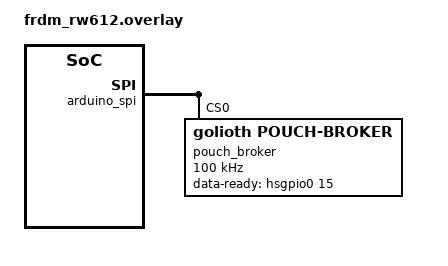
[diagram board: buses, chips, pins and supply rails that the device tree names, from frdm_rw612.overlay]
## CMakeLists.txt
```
# Copyright (c) 2026 Golioth, Inc.
#
# SPDX-License-Identifier: Apache-2.0

cmake_minimum_required(VERSION 3.20.0)
find_package(Zephyr REQUIRED HINTS $ENV{ZEPHYR_BASE})
project(serial_gateway_example)

# Apart from the SPI broker, this is the same gateway as the Bluetooth gateway example, so share its
# credential and network handling.
set(GATEWAY_EXAMPLE_DIR ${CMAKE_CURRENT_SOURCE_DIR}/../gateway)

target_include_directories(app PRIVATE ${GATEWAY_EXAMPLE_DIR}/src)

target_sources(app PRIVATE
  src/main.c
  ${GATEWAY_EXAMPLE_DIR}/src/credentials.c
  ${GATEWAY_EXAMPLE_DIR}/src/fatal_error.c
)

if(CONFIG_WIFI)
  target_sources(app PRIVATE ${GATEWAY_EXAMPLE_DIR}/src/wifi.c)
endif()

if (NOT CONFIG_EXAMPLE_COAP_CLIENT_DTLS_LOAD_CA_FROM_FILESYSTEM)
  generate_inc_file_for_target(app
    ${CMAKE_CURRENT_SOURCE_DIR}/../http_client/src/isrgrootx1.der
    ${ZEPHYR_BINARY_DIR}/include/generated/pouch-ca-crt.inc)
endif()
```

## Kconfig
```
# Copyright (c) 2026 Golioth, Inc.
# SPDX-License-Identifier: Apache-2.0

configdefault NET_SHELL
	default n

configdefault MBEDTLS_HEAP_SIZE
	default 16384

config EXAMPLE_COAP_CLIENT_SYNC_PERIOD_S
	int "CoAP client sync period (s)"
	default 30

config EXAMPLE_CREDENTIALS_DIR
	string "Directory containing credentials"
	default "/lfs1/credentials"
	help
	  Directory on mounted file system containing credentials.

config EXAMPLE_COAP_CLIENT_DTLS_CREDENTIALS
	int "Sec Tag to use when storing DTLS credentials"
	default 515765868

config EXAMPLE_COAP_CLIENT_DTLS_LOAD_CA_FROM_FILESYSTEM
	bool "Load the server CA cert from filesystem"
	help
	  Optionally load the CA certificate used for DTLS/mTLS from
	  EXAMPLE_CREDENTIALS_DIR/ca.der. If this symbol is not selected,
	  ISRG Root X1 is used.

config EXAMPLE_COAP_CLIENT_GW_DEVICE_CRT_FILENAME
	string "Gateway device crt filename in filesystem"
	default "crt.der"
	help
	  The filename used to store the mTLS device certificate in the filesystem.

config EXAMPLE_COAP_CLIENT_GW_DEVICE_KEY_FILENAME
	string "Gateway device key filename in filesystem"
	default "key.der"
	help
	  The filename used to store the mTLS device private key in the filesystem.

config EXAMPLE_POUCH_DEVICE_CRT_FILENAME
	string "Pouch device crt filename in filesystem"
	default "crt.der"
	help
	  The filename used to store the pouch device certificate in the filesystem.

config EXAMPLE_POUCH_DEVICE_KEY_FILENAME
	string "Pouch device key filename in filesystem"
	default "key.der"
	help
	  The filename used to store the pouch device private key in the filesystem.

source "Kconfig.zephyr"
```

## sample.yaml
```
sample:
  name: Pouch SPI Serial Gateway
common:
  build_only: true
  tags: spi
  sysbuild: true
  platform_allow:
    - frdm_rw612
  integration_platforms:
    - frdm_rw612
tests:
  pouch.serial_gateway.build: {}
  pouch.serial_gateway.wifi.build:
    extra_args:
      - EXTRA_CONF_FILE=boards/frdm_rw612_wifi.conf
```

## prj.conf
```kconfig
CONFIG_POUCH=y
CONFIG_POUCH_GATEWAY=y
CONFIG_POUCH_TRANSPORT_COAP_CLIENT=y
CONFIG_GOLIOTH=y
CONFIG_GOLIOTH_SETTINGS=y

# The SPI broker is enabled by the golioth,pouch-broker devicetree node
CONFIG_SPI=y

CONFIG_COAP_INIT_ACK_TIMEOUT_MS=3000

CONFIG_LOG=y

# Settings subsystem
CONFIG_FLASH=y
CONFIG_FLASH_MAP=y

CONFIG_SETTINGS=y
CONFIG_SETTINGS_FILE=y
CONFIG_SETTINGS_FILE_PATH="/lfs1/settings"

# Application
CONFIG_MAIN_STACK_SIZE=8192
CONFIG_SYSTEM_WORKQUEUE_STACK_SIZE=2048
CONFIG_SHELL=y

CONFIG_ZVFS_EVENTFD_MAX=11

# Pouch server certificate parse
CONFIG_MBEDTLS_PSA_CRYPTO_C=y
CONFIG_MBEDTLS_PEM_PARSE_C=y
CONFIG_PSA_WANT_ALG_ECDSA=y
CONFIG_PSA_WANT_ALG_SHA_384=y
CONFIG_PSA_WANT_ECC_SECP_R1_256=y
CONFIG_PSA_WANT_ECC_SECP_R1_384=y
CONFIG_PSA_WANT_KEY_TYPE_ECC_PUBLIC_KEY=y


# Networking
CONFIG_NETWORKING=y
CONFIG_NET_IPV4=y
CONFIG_NET_IPV6=n
CONFIG_NET_UDP=y
CONFIG_DNS_RESOLVER=y
CONFIG_NET_SOCKETS_CONNECT_TIMEOUT=6000
CONFIG_NET_SOCKETS_SOCKOPT_TLS=y
CONFIG_NET_SOCKETS_ENABLE_DTLS=y

# Sockets
CONFIG_NET_SOCKETS=y
CONFIG_ZVFS_POLL_MAX=4
CONFIG_POSIX_API=y

# Network driver config
CONFIG_TEST_RANDOM_GENERATOR=y

# Network buffers
CONFIG_NET_PKT_RX_COUNT=8
CONFIG_NET_PKT_TX_COUNT=8
CONFIG_NET_CONTEXT_NET_PKT_POOL=y

# Network address config
CONFIG_NET_CONFIG_SETTINGS=y
CONFIG_NET_CONFIG_NEED_IPV4=y
CONFIG_NET_CONFIG_NEED_IPV6=n

# CoAP
CONFIG_COAP=y

# File system for credentials
CONFIG_FILE_SYSTEM=y
CONFIG_FILE_SYSTEM_LITTLEFS=y
CONFIG_FILE_SYSTEM_SHELL=y

# Flash for LittleFS
CONFIG_STREAM_FLASH=y

# TLS/DTLS configuration
CONFIG_MBEDTLS=y
CONFIG_MBEDTLS_BUILTIN=y
CONFIG_MBEDTLS_ENABLE_HEAP=y
CONFIG_MBEDTLS_HEAP_SIZE=60000
CONFIG_MBEDTLS_SSL_MAX_CONTENT_LEN=16384
CONFIG_MBEDTLS_SSL_PROTO_TLS1_2=y
CONFIG_MBEDTLS_X509_CRT_PARSE_C=y
CONFIG_MBEDTLS_KEY_EXCHANGE_ECDHE_ECDSA_ENABLED=y

# TLS cipher suites (via PSA Crypto)
CONFIG_PSA_WANT_ALG_ECDH=y
CONFIG_PSA_WANT_ALG_ECDSA=y
CONFIG_PSA_WANT_ALG_GCM=y
CONFIG_PSA_WANT_ALG_RSA_PKCS1V15_SIGN=y
CONFIG_PSA_WANT_ALG_SHA_256=y
CONFIG_PSA_WANT_ALG_TLS12_PRF=y
CONFIG_PSA_WANT_KEY_TYPE_AES=y
CONFIG_PSA_WANT_KEY_TYPE_ECC_KEY_PAIR_GENERATE=y
CONFIG_PSA_WANT_KEY_TYPE_RSA_PUBLIC_KEY=y
CONFIG_PSA_WANT_KEY_TYPE_RSA_KEY_PAIR_IMPORT=y

# Misc
CONFIG_REBOOT=y

# The shared pouch_buf pool backs both device-side pouch transfers
# and gateway downlink buffering.  Each slot must fit one CoAP block
# (CONFIG_POUCH_COAP_BLOCK_SIZE, default 1024) plus the protocol
# header overhead.  The count covers POUCH_GATEWAY_NUM_BLOCKS in-flight
# downlink blocks (default 10) plus headroom for the gateway's own
# device-side uplink/downlink.
CONFIG_POUCH_BLOCK_SIZE=1024
CONFIG_POUCH_BLOCK_COUNT=12

# Server cert buffers (Golioth's server cert is ~1.5 KB)
CONFIG_POUCH_SERVER_CERT_MAX_LEN=2048
CONFIG_POUCH_GATEWAY_SERVER_CERT_MAX_LEN=2048

# Enable mcumgr
CONFIG_ZCBOR=y
CONFIG_MCUMGR=y

# Enable the shell mcumgr transport. This allows SMP messages to pass
# through the shell to the mgmt subsystem.
CONFIG_BASE64=y
CONFIG_CRC=y
CONFIG_MCUMGR_TRANSPORT_SHELL=y

# Enable mcumgr params to allow smpmgr to query device for its MTU
CONFIG_MCUMGR_GRP_OS=y
CONFIG_MCUMGR_GRP_OS_MCUMGR_PARAMS=y

# Enable file system commands
CONFIG_MCUMGR_GRP_FS=y
CONFIG_MCUMGR_GRP_FS_FILE_ACCESS_HOOK=y
CONFIG_MCUMGR_MGMT_NOTIFICATION_HOOKS=y
```

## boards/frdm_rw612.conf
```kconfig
CONFIG_NET_DHCPV4=y
CONFIG_BUILD_OUTPUT_HEX=y

CONFIG_MCUMGR_TRANSPORT_WORKQUEUE_STACK_SIZE=4096
```

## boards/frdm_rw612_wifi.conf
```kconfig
# Extra configuration file for using NXP frdm_rw612 with WiFi instead of Ethernet
#   To use, add as extra conf file:
#   west build -p -b frdm_rw612 <path_to>/serial_gateway -- -DEXTRA_CONF_FILE=boards/frdm_rw612_wifi.conf
#
CONFIG_WIFI=y
CONFIG_WIFI_NXP=y

# Ensure that filesystem initializes before settings
CONFIG_FILE_SYSTEM_INIT_PRIORITY=89

# Runtime provisioning for WiFi credentials
CONFIG_WIFI_CREDENTIALS=y
CONFIG_NET_L2_WIFI_SHELL=y
CONFIG_SHELL_STACK_SIZE=2560

# Wifi Configuration
CONFIG_NET_L2_ETHERNET=y
CONFIG_NET_PKT_RX_COUNT=36
CONFIG_NET_PKT_TX_COUNT=36
CONFIG_NET_BUF_RX_COUNT=40
CONFIG_NET_BUF_TX_COUNT=40
CONFIG_NET_BUF_DATA_SIZE=1744

# Handle WiFi Networks with Multiple DNS Servers
CONFIG_DNS_RESOLVER_MAX_SERVERS=3

# Disable Ethernet
CONFIG_ETH_NXP_ENET=n
CONFIG_PHY_MICROCHIP_KSZ8081=n
CONFIG_NET_CONFIG_AUTO_INIT=n
CONFIG_NET_CONFIG_NEED_IPV4=n
```

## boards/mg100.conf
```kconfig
# Network configuration
CONFIG_NETWORKING=y
CONFIG_NET_UDP=y
CONFIG_NET_TCP=y
CONFIG_NET_IPV4=y
CONFIG_NET_SOCKETS=y

# Network management
CONFIG_NET_MGMT=y
CONFIG_NET_MGMT_EVENT=y
CONFIG_NET_CONNECTION_MANAGER=y

# Modem configuration
CONFIG_MODEM=y
CONFIG_MODEM_HL7800=y

# DNS
CONFIG_DNS_RESOLVER=y

# Network buffers
CONFIG_NET_PKT_RX_COUNT=32
CONFIG_NET_PKT_TX_COUNT=16
CONFIG_NET_BUF_RX_COUNT=64
CONFIG_NET_BUF_TX_COUNT=32

# The HL7800 driver gets its IP settings from the cell network
CONFIG_NET_CONFIG_SETTINGS=n
CONFIG_NET_DHCPV4=n
CONFIG_DNS_SERVER_IP_ADDRESSES=n

# NB-IoT latency can reach 10s; use greater timeouts
CONFIG_NET_SOCKETS_DNS_TIMEOUT=15000
CONFIG_NET_SOCKETS_CONNECT_TIMEOUT=15000
CONFIG_COAP_INIT_ACK_TIMEOUT_MS=15000
CONFIG_NET_SOCKETS_DTLS_TIMEOUT=15000

# Logging
CONFIG_MODEM_LOG_LEVEL_ERR=y
```

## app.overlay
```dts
/*
 * Copyright (c) 2026 Golioth, Inc.
 */
/ {
	fstab {
		compatible = "zephyr,fstab";
		lfs1: lfs1 {
			compatible = "zephyr,fstab,littlefs";
			mount-point = "/lfs1";
			partition = <&storage_partition>;
			automount;
			read-size = <16>;
			prog-size = <16>;
			cache-size = <64>;
			lookahead-size = <32>;
			block-cycles = <512>;
		};
	};
};
```

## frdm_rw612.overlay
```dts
&pinctrl {
	/* Override the board's pinmux_flexcomm1_spi, which includes BOTH an SS0
	 * and an SS1 group. The RW61x MCI_IO_MUX pinctrl driver processes every
	 * pin sequentially and, for each pin, first clears all conflicting
	 * flexcomm bits via select_gpio_mode() before setting the new function.
	 * The GPIO clear masks for IO 7/8/9 (IOMUX_GPIO_CLR_7/8/9) all include
	 * FC1 bit 3 — the single SEL_FC1_SPI bit that routes GPIO 6/7/8/9 to the
	 * SPI peripheral. When the SS1 group is applied after SS0, those clears
	 * wipe FC1 bit 3, leaving the pins off the SPI function entirely.
	 * Use a single SS0-only group so the SPI function bit survives.
	 */
	pinmux_flexcomm1_spi_ss0: pinmux_flexcomm1_spi_ss0 {
		group0 {
			pinmux = <IO_MUX_FC1_SPI_SS0>;
			slew-rate = "ultra";
		};
	};
};

&arduino_spi {
	/* SPI on J2:
	 * GPIO 6: CS  (driven by Flexcomm1 hardware SS0)
	 * GPIO 7: SCK
	 * GPIO 8: MISO
	 * GPIO 9: MOSI
	 */
	status = "okay";
	pinctrl-0 = <&pinmux_flexcomm1_spi_ss0>;
	pinctrl-names = "default";

	def-char = <0>;
	overrun-character = <0>;

	pouch_broker: pouch-broker@0 {
		compatible = "golioth,pouch-broker";
		reg = <0>;
		spi-max-frequency = <100000>;
		data-ready-gpios = <&hsgpio0 15 GPIO_ACTIVE_HIGH>;
	};
};
```

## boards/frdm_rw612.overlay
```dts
/*
 * Copyright (c) 2026 Golioth, Inc.
 */

/* A board overlay replaces app.overlay, which mounts the credentials file system */
#include "../app.overlay"

&pinctrl {
	/* Override the board's pinmux_flexcomm1_spi, which includes BOTH an SS0
	 * and an SS1 group. The RW61x MCI_IO_MUX pinctrl driver processes every
	 * pin sequentially and, for each pin, first clears all conflicting
	 * flexcomm bits via select_gpio_mode() before setting the new function.
	 * The GPIO clear masks for IO 7/8/9 (IOMUX_GPIO_CLR_7/8/9) all include
	 * FC1 bit 3 — the single SEL_FC1_SPI bit that routes GPIO 6/7/8/9 to the
	 * SPI peripheral. When the SS1 group is applied after SS0, those clears
	 * wipe FC1 bit 3, leaving the pins off the SPI function entirely.
	 * Use a single SS0-only group so the SPI function bit survives.
	 */
	pinmux_flexcomm1_spi_ss0: pinmux_flexcomm1_spi_ss0 {
		group0 {
			pinmux = <IO_MUX_FC1_SPI_SS0>;
			slew-rate = "ultra";
		};
	};
};

&arduino_spi {
	/* SPI on J2:
	 * GPIO 6: CS  (driven by Flexcomm1 hardware SS0)
	 * GPIO 7: SCK
	 * GPIO 8: MISO
	 * GPIO 9: MOSI
	 */
	status = "okay";
	pinctrl-0 = <&pinmux_flexcomm1_spi_ss0>;
	pinctrl-names = "default";

	def-char = <0>;
	overrun-character = <0>;

	pouch_broker: pouch-broker@0 {
		compatible = "golioth,pouch-broker";
		reg = <0>;
		spi-max-frequency = <100000>;
		data-ready-gpios = <&hsgpio0 15 GPIO_ACTIVE_HIGH>;
	};
};
```

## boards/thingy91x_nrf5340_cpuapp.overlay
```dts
/*
 * Thingy:91 X overlay for Serial Modem communication with on-board nRF9151
 *
 * UART0 is used for Serial Modem communication with 4-wire UART (HW flow control).
 * Pin assignment matches the pouch-gateway BT HCI UART wiring:
 *   TX  = P0.29 <-> nRF9151 P0.00 (RX)
 *   RX  = P1.04 <-> nRF9151 P0.01 (TX)
 *   RTS = P1.06 <-> nRF9151 P0.05 (CTS)
 *   CTS = P1.08 <-> nRF9151 P0.04 (RTS)
 *   DTR = P1.15 <-> nRF9151 P0.26 (Power/DTR)
 *
 * Console is on RTT since UART0 is used for the modem.
 */

/ {
	aliases {
		modem = &modem;
	};
};

&uart0 {
	status = "okay";
	current-speed = <115200>;
	hw-flow-control;
	pinctrl-0 = <&uart_vcom0_vcom1_default>;
	pinctrl-1 = <&uart_vcom0_vcom1_sleep>;
	pinctrl-names = "default", "sleep";

	/* Nordic nRF91 Serial Modem configuration */
	modem: modem {
		compatible = "nordic,nrf91-slm";
		status = "okay";
		mdm-dtr-gpios = <&gpio0 30 GPIO_ACTIVE_LOW>;
		mdm-ring-gpios = <&gpio0 31 (GPIO_ACTIVE_LOW | GPIO_PULL_DOWN)>;
		mdm-reset-gpios = <&gpio1 7 GPIO_ACTIVE_LOW>;
	};
};

&pinctrl {
	/* UART0 with HW flow control using pouch-gateway BT HCI pin assignment */
	uart_vcom0_vcom1_default: uart_vcom0_vcom1_default {
		group1 {
			psels = <NRF_PSEL(UART_TX,  0, 29)>,
			        <NRF_PSEL(UART_CTS, 1, 8)>,
			        <NRF_PSEL(UART_RX,  1, 4)>,
			        <NRF_PSEL(UART_RTS, 1, 6)>;
		};
	};

	uart_vcom0_vcom1_sleep: uart_vcom0_vcom1_sleep {
		group1 {
			psels = <NRF_PSEL(UART_TX, 0, 29)>,
				<NRF_PSEL(UART_CTS, 1, 8)>,
				<NRF_PSEL(UART_RX, 1, 4)>,
				<NRF_PSEL(UART_RTS, 1, 6)>;
			low-power-enable;
		};
	};
};
```

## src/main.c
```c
/*
 * Copyright (c) 2026 Golioth, Inc.
 *
 * SPDX-License-Identifier: Apache-2.0
 */

#include <zephyr/net/net_if.h>
#include <zephyr/net/net_mgmt.h>
#include <zephyr/net/dhcpv4.h>

#include <pouch/pouch.h>
#include <pouch/uplink.h>
#include <pouch/transport/coap/client.h>
#include <pouch/transport/coap/gateway.h>
#include <pouch/transport/spi/broker.h>

#include <pouch/gateway/cert.h>
#include <pouch/gateway/cloud.h>
#include <pouch/gateway/uplink.h>

#include <golioth/settings_callbacks.h>

#include "credentials.h"

#if defined(CONFIG_WIFI)
#include "wifi.h"
#endif

#include <zephyr/logging/log.h>
LOG_MODULE_REGISTER(main);

struct net_wait_data
{
    struct k_sem sem;
    struct net_mgmt_event_callback cb;
};

static void do_uplink(void)
{
    const char *payload = "{\"temp\":22}";
    pouch_uplink_entry_write(".s/sensor",
                             POUCH_CONTENT_TYPE_JSON,
                             payload,
                             strlen(payload),
                             POUCH_FOREVER);
}
POUCH_UPLINK_HANDLER(do_uplink);

static int led_setting_cb(bool new_value)
{
    LOG_INF("Received LED setting: %d", (int) new_value);

    return 0;
}

GOLIOTH_SETTINGS_HANDLER(LED, led_setting_cb);

static void event_cb_handler(struct net_mgmt_event_callback *cb,
                             uint64_t mgmt_event,
                             struct net_if *iface)
{
    struct net_wait_data *wait = CONTAINER_OF(cb, struct net_wait_data, cb);

    if (mgmt_event == cb->event_mask)
    {
        k_sem_give(&wait->sem);
    }
}

static void wait_for_net_event(struct net_if *iface, uint64_t event)
{
    struct net_wait_data wait;

    wait.cb.handler = event_cb_handler;
    wait.cb.event_mask = event;

    k_sem_init(&wait.sem, 0, 1);
    net_mgmt_add_event_callback(&wait.cb);

    k_sem_take(&wait.sem, K_FOREVER);

    net_mgmt_del_event_callback(&wait.cb);
}

static void wait_for_network(void)
{
    struct net_if *iface = net_if_get_default();

    if (!net_if_is_up(iface))
    {
        LOG_INF("Bringing up network interface (%p)", (void *) iface);
        int ret = net_if_up(iface);
        if ((ret < 0) && (ret != -EALREADY))
        {
            LOG_ERR("Failed to bring up network interface: %d", ret);
            return;
        }
    }

    if (IS_ENABLED(CONFIG_WIFI))
    {
        struct net_wait_data wait;

        wait.cb.handler = event_cb_handler;
        wait.cb.event_mask = NET_EVENT_IPV4_ADDR_ADD;
        k_sem_init(&wait.sem, 0, 1);
        net_mgmt_add_event_callback(&wait.cb);

        IF_ENABLED(CONFIG_WIFI, (wifi_connect()));

        if (IS_ENABLED(CONFIG_NET_DHCPV4))
        {
            net_dhcpv4_start(iface);
        }

        LOG_INF("Waiting to obtain IP address");
        k_sem_take(&wait.sem, K_FOREVER);
        net_mgmt_del_event_callback(&wait.cb);
    }
    else if (IS_ENABLED(CONFIG_NET_L2_ETHERNET) && IS_ENABLED(CONFIG_NET_DHCPV4))
    {
        net_dhcpv4_start(net_if_get_default());
    }
    else if (IS_ENABLED(CONFIG_MODEM))
    {
        LOG_INF("Waiting to obtain IP address");
        wait_for_net_event(iface,
                           IS_ENABLED(DNS_SERVER_IP_ADDRESSES) ? NET_EVENT_DNS_SERVER_ADD
                                                               : NET_EVENT_IPV4_ADDR_ADD);
    }
}

int main(void)
{
    int err;

    LOG_INF("Pouch SPI Serial Gateway");

    /* Load the Pouch device's identity (cert + key). */
    struct pouch_config config = {0};

    err = load_certificate(&config.certificate);
    if (err)
    {
        LOG_ERR("Failed to load certificate (err %d)", err);
        return 0;
    }

    config.private_key = load_private_key();
    if (config.private_key == PSA_KEY_ID_NULL)
    {
        LOG_ERR("Failed to load private key");
        return 0;
    }

    LOG_INF("Credentials loaded");

    err = pouch_init(&config);
    if (err)
    {
        LOG_ERR("Pouch init failed (err %d)", err);
        return 0;
    }

    /* Load DTLS credentials for the CoAP transport. */
    if (IS_ENABLED(CONFIG_POUCH_GATEWAY_CLOUD))
    {
        err = load_coap_server_ca(CONFIG_EXAMPLE_COAP_CLIENT_DTLS_CREDENTIALS);
        if (err)
        {
            LOG_ERR("Failed to load server CA certificate (err %d)", err);
            return 0;
        }

        err = load_coap_gw_device_crt(CONFIG_EXAMPLE_COAP_CLIENT_DTLS_CREDENTIALS);
        if (err)
        {
            LOG_ERR("Failed to load device certificate (err %d)", err);
            return 0;
        }

        err = load_coap_gw_device_key(CONFIG_EXAMPLE_COAP_CLIENT_DTLS_CREDENTIALS);
        if (err)
        {
            LOG_ERR("Failed to load device key (err %d)", err);
            return 0;
        }

        err = pouch_coap_client_init(CONFIG_EXAMPLE_COAP_CLIENT_DTLS_CREDENTIALS);
        if (err)
        {
            LOG_ERR("Failed to initialize CoAP client transport: %d", err);
            return err;
        }

        pouch_coap_gateway_init();
    }

    /* Wait for network and prime the cloud transport so the server
     * certificate is available before the SPI device is synced.
     */
    if (IS_ENABLED(CONFIG_POUCH_GATEWAY_CLOUD))
    {
        wait_for_network();

        while (true)
        {
            err = pouch_gateway_cloud_ensure_ready();
            if (!err)
            {
                break;
            }
            LOG_WRN("Initial cloud transport setup failed: %d, will retry", err);
            k_sleep(K_SECONDS(5));
        }
    }

    pouch_gateway_cert_module_init();
    pouch_gateway_uplink_module_init();

    pouch_spi_broker_start();

    if (IS_ENABLED(CONFIG_POUCH_GATEWAY_CLOUD))
    {
        while (true)
        {
            k_sleep(K_SECONDS(CONFIG_EXAMPLE_COAP_CLIENT_SYNC_PERIOD_S));

            err = pouch_coap_client_sync();
            if (err)
            {
                LOG_WRN("CoAP sync failed: %d", err);
            }
        }
    }

    return 0;
}
```
